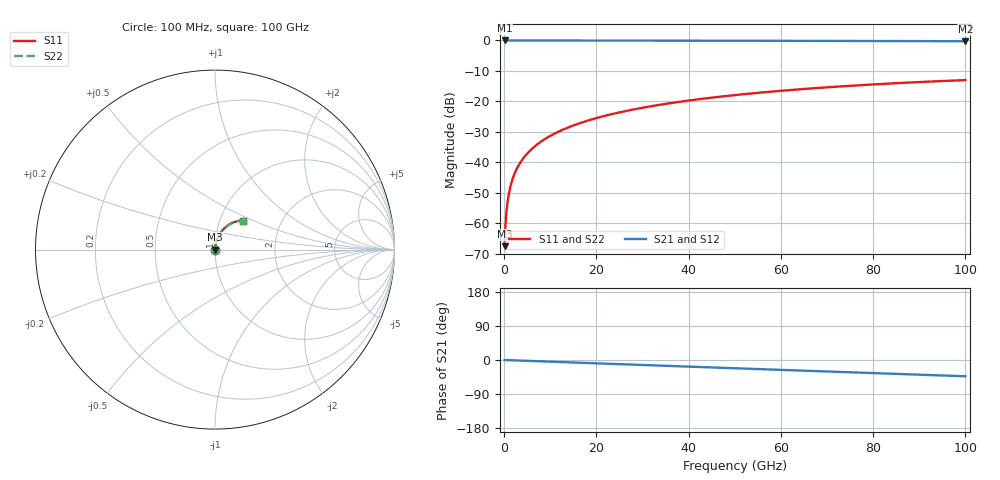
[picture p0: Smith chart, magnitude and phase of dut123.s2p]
! Touchstone file exported from HFSS 2026.1.0
!  File:  C:/ffzhzh/LocalFiles/Ansys_Project_Files/temp_train_TSV_123_1783506137_41296.aedt
!  Generated:  06:23:41 PM Jul  8, 2026
!  Design:  TSV
!  Project:  temp_train_TSV_123_1783506137_41296
! Variables:
!  h_bsmrdl = 2um
!  h_ox = 20um
!  h_rdl = 5um
!  h_sub = 82.42um
!  h_tmrdl = 5um
!  h_tsv = 82.42um
!  h_via = 3um
!  l_bsmrdl = 300um
!  l_sub = 412.34um
!  l_tmrdl = 200um
!  m_sub = 200um
!  pitch = 41.13um
!  r_tsv = 6.17um
!  s_tmrdl = 10um
!  w_bsmrdl = 18um
!  w_sub = 500um
!  w_tmrdl = 12um
!  x_tsv_center1 = 206um
!  x_tsv_center2 = 524um
!  x_tsv_center3 = 736um
!  x_tsv_center4 = 1054um
!  x_tsv_center5 = 1266um
!  x_tsv_center6 = 1584um
# GHz S MA R 50.000000
! Terminal data exported
! Port[1] = TSV1_1_T1
! Port[2] = TSV1_1_T2
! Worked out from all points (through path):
!   1000 points, 100 MHz to 100 GHz, reference 50 ohm
!   highest |S21| = 0.00 dB at 100 MHz (marker M1); lowest = -0.3 dB at 100 GHz (marker M2)
!   group delay of S21, straight-line fit = 1.19 ps
!   lowest |S11| = -67.5 dB at 100 MHz (marker M3), VSWR 1.00, Z = 50 + j0.0312 ohm
!   |S11| at or under -10 dB: start of sweep to end of sweep
!   |S22| runs from -67.5 to -13.0 dB; largest |S21 - S12| = 4.1e-15
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0.1  0.0004206 47.9  0.9997 -0.0  0.9997 -0.0  0.0004206 47.9
! Gamma 0 0 0 0
! Port Impedance 50 0 50 0
0.4  0.001244 74.7  0.9997 -0.2  0.9997 -0.2  0.001244 74.7
0.7  0.002102 79.9  0.9996 -0.3  0.9996 -0.3  0.002102 79.9
0.8  0.002389 80.7  0.9996 -0.4  0.9996 -0.4  0.002389 80.7
1.1  0.003249 82.3  0.9996 -0.5  0.9996 -0.5  0.003249 82.3
1.4  0.004103 83.0  0.9995 -0.6  0.9995 -0.6  0.004103 83.0
1.9  0.005509 83.6  0.9995 -0.9  0.9995 -0.9  0.005509 83.6
2.4  0.006892 83.8  0.9994 -1.1  0.9994 -1.1  0.006892 83.8
3  0.008529 83.9  0.9993 -1.4  0.9993 -1.4  0.008529 83.9
3.8  0.01069 84.0  0.9991 -1.7  0.9991 -1.7  0.01069 84.0
4.8  0.01336 83.9  0.999 -2.1  0.999 -2.1  0.01336 83.9
6  0.01656 83.8  0.9988 -2.7  0.9988 -2.7  0.01656 83.8
8.8  0.02399 83.1  0.9985 -3.9  0.9985 -3.9  0.02399 83.1
12.4  0.03346 82.0  0.998 -5.5  0.998 -5.5  0.03346 82.0
16.8  0.04493 80.4  0.9973 -7.4  0.9973 -7.4  0.04493 80.4
24.2  0.06395 77.5  0.9959 -10.6  0.9959 -10.6  0.06395 77.5
33.4  0.08707 73.8  0.9938 -14.7  0.9938 -14.7  0.08707 73.8
41.2  0.1061 70.5  0.9917 -18.0  0.9917 -18.0  0.1061 70.5
50.1  0.127 66.8  0.989 -21.9  0.989 -21.9  0.127 66.8
66.7  0.1634 59.9  0.9833 -29.0  0.9833 -29.0  0.1634 59.9
83.4  0.1959 53.0  0.977 -36.0  0.977 -36.0  0.1959 53.0
100  0.2236 46.2  0.9707 -42.9  0.9707 -42.9  0.2236 46.2
